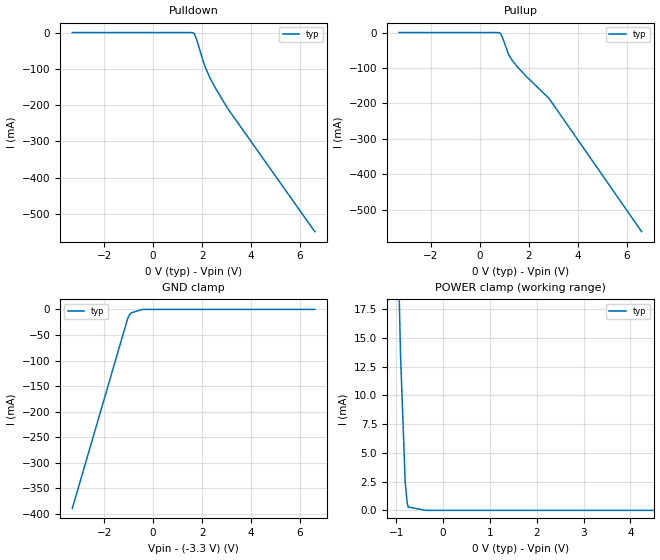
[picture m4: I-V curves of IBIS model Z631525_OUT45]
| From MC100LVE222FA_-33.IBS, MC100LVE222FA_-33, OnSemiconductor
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| (C) COPYRIGHT 1993-2000
| MENTOR GRAPHICS CORPORATION
| ICX STANDARD LIBRARY, ICX PROJECT MODELING,
| ICX CUSTOM MODELING, ICX VENDOR MODEL
| ALL RIGHTS RESERVED.
| THE FOLLOWING ARE TRADEMARKS OR SERVICE MARKS OF
| MENTOR GRAPHICS CORPORATION:ICX (R), ICX STANDARD
| LIBRARY(R), ICX PROJECT MODELING(R), ICX CUSTOM
| MODELING(R), qualityIBIS(TM), MODELVIEWER(TM),
| AND MODELEDITOR(TM)
| ALL COPIES OF SOFTWARE, INCLUDING BUT NOT LIMITED TO
| ANY MODIFICATIONS, ENHANCEMENTS OR DERIVATIVE WORKS,
| MUST CONTAIN ALL MENTOR GRAPHICS CORPORATION'S
| NOTICES AND LEGENDS, INCLUDING THOSE EMBEDDED IN
| SOFTWARE AND THOSE AFFIXED TO SOFTWARE MEDIUM
| AND CONTAINER, AS RECEIVED FROM MENTOR GRAPHICS
| CORPORATION.
| Model Application Version 1.89 2/18/99.
[Model] Z631525_OUT45
Model_type Output_ECL
Vref=-2.000V
Rref=50.00ohms
Cref=0.000F
Vmeas=-1.320V
C_comp 8.000pF NA NA
| variable typ   min   max
[Voltage Range] -3.300V NA NA
[POWER Clamp Reference] 0.000V NA NA
[Pullup Reference] 0.000V NA NA
[Pulldown Reference] 0.000V NA NA
[GND Clamp Reference] -3.300V NA NA
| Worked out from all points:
|   POWER clamp passes 1 mA (typ) near -0.78 V on its own axis
[GND Clamp]
-3.3V     -389.4mA   NA         NA
-1.038V   -17.82mA   NA         NA
-957mV    -9.962mA   NA         NA
-876mV    -6.404mA   NA         NA
-438mV    0A         NA         NA
6.6V      0A         NA         NA
[Pulldown]
-3.3V     0A         NA         NA
1.54V     0A         NA         NA
1.581V    -100uA     NA         NA
1.622V    -500uA     NA         NA
1.682V    -3.5mA     NA         NA
1.784V    -20.4mA    NA         NA
2.047V    -79.7mA    NA         NA
2.128V    -94.9mA    NA         NA
2.311V    -123.6mA   NA         NA
2.493V    -147.1mA   NA         NA
3.02V     -206.9mA   NA         NA
6.6V      -549.1mA   NA         NA
[Pullup]
-3.3V     0A         NA         NA
709mV     0A         NA         NA
831mV     -2.2mA     NA         NA
912mV     -12.5mA    NA         NA
1.155V    -59.5mA    NA         NA
1.358V    -82.7mA    NA         NA
1.905V    -124.8mA   NA         NA
2.817V    -185.8mA   NA         NA
6.6V      -562.2mA   NA         NA
[POWER Clamp]
-3.3V     950.8mA    NA         NA
-1.074V   46.15mA    NA         NA
-1.034V   35.65mA    NA         NA
-912mV    13.57mA    NA         NA
-811mV    2.386mA    NA         NA
-770mV    691.4uA    NA         NA
-750mV    294.2uA    NA         NA
-375mV    0A         NA         NA
6.6V      0A         NA         NA
[Ramp]
| variable typ min max
dV/dt_r 445.2m/263.2p NA NA
dV/dt_f 445.2m/243.7p NA NA
R_load = 50.00Ohms
